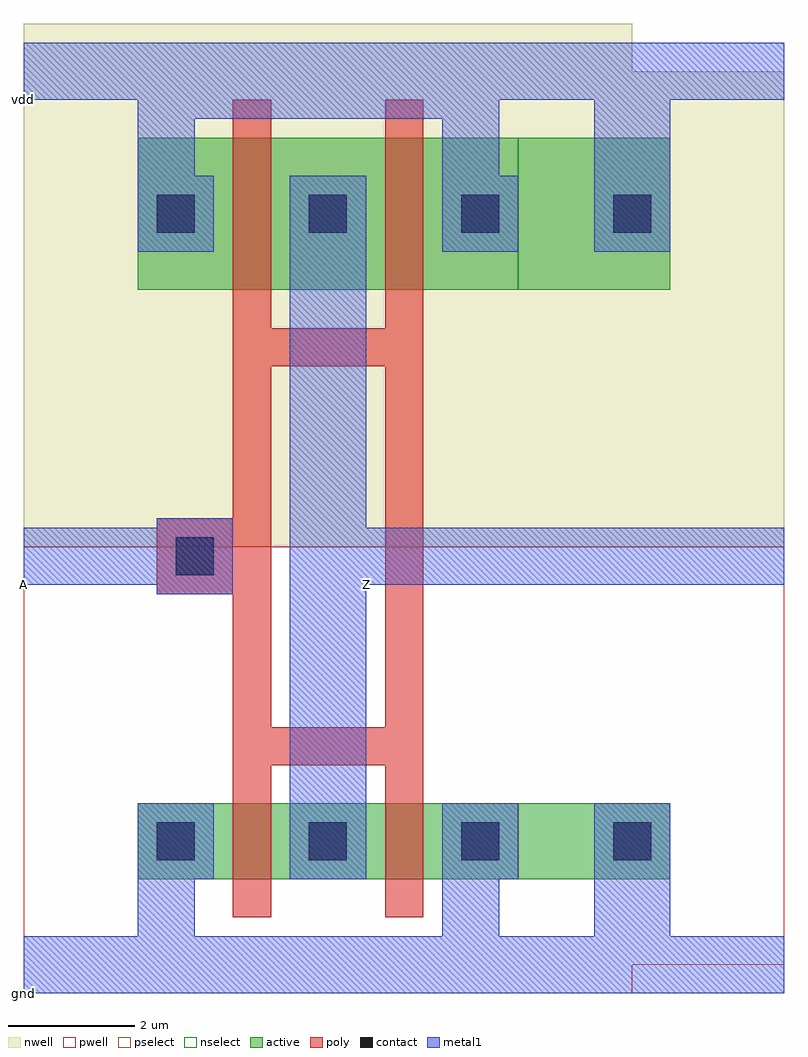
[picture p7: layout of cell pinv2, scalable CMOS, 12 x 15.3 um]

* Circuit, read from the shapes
.subckt pinv2 A Z gnd vdd
M1 Z A gnd gnd nfet w=1.2u l=0.6u m=2
M2 Z A vdd vdd pfet w=2.4u l=0.6u m=2
.ends

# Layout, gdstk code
from math import pi, radians
import gdstk
lib = gdstk.Library(unit=1e-6, precision=1e-09)
def R(c, l, rs):  # rectangles x0, y0, x1, y1
    for r in rs: c.add(gdstk.rectangle(r[:2], r[2:], *l))
def A(c, l, x, y, w, h, nx, ny, dx, dy):  # array of equal rectangles
    R(c, l, [(x+i*dx, y+j*dy, x+i*dx+w, y+j*dy+h) for i in range(nx) for j in range(ny)])
contact = (25, 0)
pwell = (41, 0)
nwell = (42, 0)
active = (43, 0)
pselect = (44, 0)
nselect = (45, 0)
poly = (46, 0)
metal1 = (49, 0)

active_contact_metal1_1x = lib.new_cell('active_contact_metal1_1x1')
R(active_contact_metal1_1x, contact, [(0.3,0.3,0.9,0.9)])
R(active_contact_metal1_1x, active, [(0,0,1.2,1.2)])
R(active_contact_metal1_1x, metal1, [(0,0,1.2,1.2)])

nmos_m2_w1_2_a_p = lib.new_cell('nmos_m2_w1_2_a_p')
R(nmos_m2_w1_2_a_p, pwell, [(0,0,9.6,4.8)])
R(nmos_m2_w1_2_a_p, active, [(1.8,1.8,7.8,3)])
R(nmos_m2_w1_2_a_p, nselect, [(1.8,1.8,7.8,3)])
R(nmos_m2_w1_2_a_p, poly, [(3.3,0.6,6.3,1.2), (3.3,1.2,3.9,3.6), (5.7,1.2,6.3,3.6)])
A(nmos_m2_w1_2_a_p, metal1, 1.8, 1.8, 1.2, 1.2, 3, 1, 2.4, 0)
R(nmos_m2_w1_2_a_p, metal1, [(1.8,1.8,2.7,3.9), (6.6,1.8,7.5,4.35), (1.8,3.9,2.7,4.8), (1.8,3.9,2.7,4.35), (1.8,3.9,7.5,4.8), (2.25,3.9,7.05,4.8), (6.6,3.9,7.5,4.8)])
nmos_m2_w1_2_a_p.add(gdstk.Reference(active_contact_metal1_1x, (1.8,1.8)))
nmos_m2_w1_2_a_p.add(gdstk.Reference(active_contact_metal1_1x, (4.2,1.8)))
nmos_m2_w1_2_a_p.add(gdstk.Reference(active_contact_metal1_1x, (6.6,1.8)))
nmos_m2_w1_2_a_p.add(gdstk.Label('S', (1.8,3.9), layer=49, texttype=0))
nmos_m2_w1_2_a_p.add(gdstk.Label('G', (3.3,0.6), layer=46, texttype=0))

pmos_m2_w2_4_a_p = lib.new_cell('pmos_m2_w2_4_a_p')
R(pmos_m2_w2_4_a_p, nwell, [(0,0,9.6,6)])
R(pmos_m2_w2_4_a_p, active, [(1.8,1.8,7.8,4.2)])
R(pmos_m2_w2_4_a_p, pselect, [(1.8,1.8,7.8,4.2)])
R(pmos_m2_w2_4_a_p, poly, [(3.3,0.6,6.3,1.2), (3.3,1.2,3.9,4.8), (5.7,1.2,6.3,4.8)])
A(pmos_m2_w2_4_a_p, metal1, 1.8, 2.4, 1.2, 1.2, 3, 1, 2.4, 0)
R(pmos_m2_w2_4_a_p, metal1, [(1.8,2.4,2.7,4.5), (6.6,2.4,7.5,4.95), (1.8,4.5,2.7,5.4), (1.8,4.5,2.7,4.95), (1.8,4.5,7.5,5.4), (2.25,4.5,7.05,5.4), (6.6,4.5,7.5,5.4)])
pmos_m2_w2_4_a_p.add(gdstk.Reference(active_contact_metal1_1x, (1.8,2.4)))
pmos_m2_w2_4_a_p.add(gdstk.Reference(active_contact_metal1_1x, (4.2,2.4)))
pmos_m2_w2_4_a_p.add(gdstk.Reference(active_contact_metal1_1x, (6.6,2.4)))
pmos_m2_w2_4_a_p.add(gdstk.Label('S', (1.8,4.5), layer=49, texttype=0))
pmos_m2_w2_4_a_p.add(gdstk.Label('G', (3.3,0.6), layer=46, texttype=0))

poly_contact_metal1_1x1 = lib.new_cell('poly_contact_metal1_1x1')
R(poly_contact_metal1_1x1, contact, [(0.3,0.3,0.9,0.9)])
R(poly_contact_metal1_1x1, poly, [(0,0,1.2,1.2)])
R(poly_contact_metal1_1x1, metal1, [(0,0,1.2,1.2)])

pinv2 = lib.new_cell('pinv2')
R(pinv2, pwell, [(0,0,12,6.6)])
R(pinv2, nwell, [(0,6.6,12,14.1)])
R(pinv2, active, [(1.8,1.35,10.2,2.55), (1.8,10.65,10.2,13.05)])
R(pinv2, pselect, [(7.8,1.35,10.2,2.55)])
R(pinv2, nselect, [(7.8,10.65,10.2,13.05)])
R(pinv2, poly, [(3.3,3.15,3.9,10.05), (5.7,3.15,6.3,10.05), (3.3,5.85,3.9,7.05)])
R(pinv2, metal1, [(0,-0.45,12,0.45), (9,0.45,10.2,2.25), (4.2,2.55,5.4,11.4), (0,6,2.1,6.9), (5.4,6,12,6.9), (9,11.25,10.2,13.65), (0,13.65,12,14.55)])
pinv2.add(gdstk.Reference(nmos_m2_w1_2_a_p, (0,4.35), x_reflection=True))
pinv2.add(gdstk.Reference(pmos_m2_w2_4_a_p, (0,8.85)))
pinv2.add(gdstk.Reference(active_contact_metal1_1x, (9,11.25)))
pinv2.add(gdstk.Reference(active_contact_metal1_1x, (9,1.35)))
pinv2.add(gdstk.Reference(poly_contact_metal1_1x1, (3.3,5.85), rotation=pi/2))
pinv2.add(gdstk.Label('A', (0,6), layer=49, texttype=0))
pinv2.add(gdstk.Label('Z', (5.4,6), layer=49, texttype=0))
pinv2.add(gdstk.Label('vdd', (0,13.65), layer=49, texttype=0))
pinv2.add(gdstk.Label('gnd', (0,-0.45), layer=49, texttype=0))

lib.write_gds('pinv2.gds')
